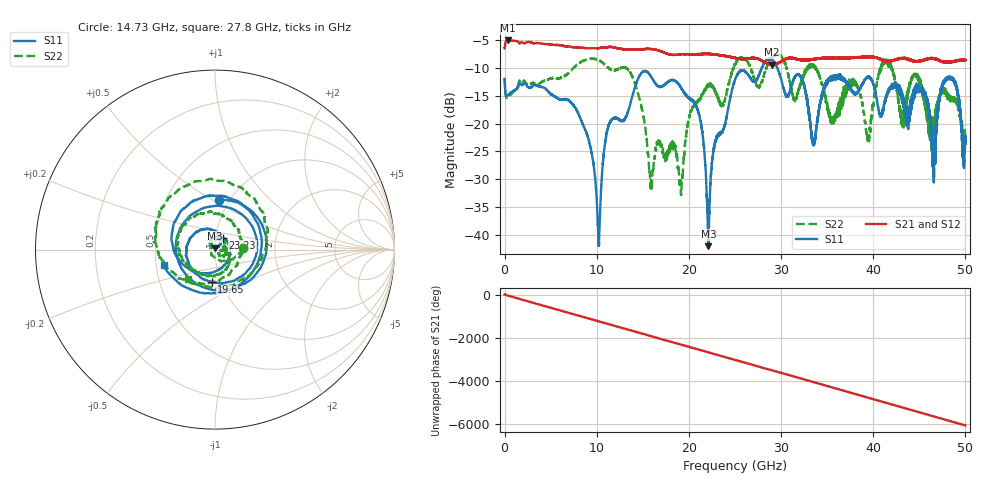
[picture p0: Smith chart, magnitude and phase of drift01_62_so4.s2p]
!Created with skrf (http://scikit-rf.org).
# Hz S RI R 50.0
!freq ReS11 ImS11 ReS21 ImS21 ReS12 ImS12 ReS22 ImS22
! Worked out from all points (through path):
!   10001 points, 300 kHz to 50 GHz, reference 50 ohm
!   highest |S21| = -5.05 dB at 325.3 MHz (marker M1); lowest = -9.4 dB at 29.04 GHz (marker M2)
!   group delay of S21, straight-line fit = 336 ps
!   lowest |S11| = -42.1 dB at 22.11 GHz (marker M3), VSWR 1.02, Z = 49.9 + j0.782 ohm
!   |S11| at or under -10 dB: start of sweep to 27.91 GHz; 29.59 GHz to end of sweep
!   |S22| runs from -32.9 to -7.5 dB; largest |S21 - S12| = 0.013
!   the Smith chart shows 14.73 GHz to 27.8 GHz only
!   S11 on the Smith chart (normalised r, x): 14.73 GHz: 0.90, +0.54; 19.65 GHz: 0.90, -0.34; 23.23 GHz: 1.09, +0.14; 27.8 GHz: 0.55, -0.10
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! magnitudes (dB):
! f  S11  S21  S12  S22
! 300 kHz  -12.0  -6.5  -6.5  -11.8
! 325.3 MHz  -15.0  -5.1  -5.1  -15.3
! 8.335 GHz  -19.5  -6.3  -6.4  -8.9
! 10.21 GHz  -42.0  -6.4  -6.4  -8.6
! 11.24 GHz  -20.6  -6.2  -6.2  -9.9
! 14.73 GHz  -11.2  -6.7  -6.7  -16.2
! 15.88 GHz  -11.5  -6.6  -6.6  -30.5
! 16.67 GHz  -13.3  -6.9  -6.9  -23.2
! 19.65 GHz  -14.8  -7.5  -7.5  -22.8
! 21.22 GHz  -19.3  -7.5  -7.5  -15.5
! 22.11 GHz  -42.1  -7.5  -7.5  -13.2
! 23.23 GHz  -22.0  -7.6  -7.7  -15.8
! 25 GHz  -12.1  -8.2  -8.2  -9.4
! 27.8 GHz  -10.6  -8.6  -8.6  -13.1
! 29.04 GHz  -8.6  -9.4  -9.4  -8.0
! 33.34 GHz  -22.6  -8.5  -8.4  -9.6
! 39.46 GHz  -11.5  -8.0  -8.0  -22.1
! 41.67 GHz  -13.8  -8.7  -8.7  -9.2
! 45.4 GHz  -13.7  -8.7  -8.6  -15.0
! 46.55 GHz  -27.6  -8.3  -8.3  -20.5
! 48.53 GHz  -12.0  -8.9  -8.9  -15.8
! 50 GHz  -23.6  -8.6  -8.6  -23.3
